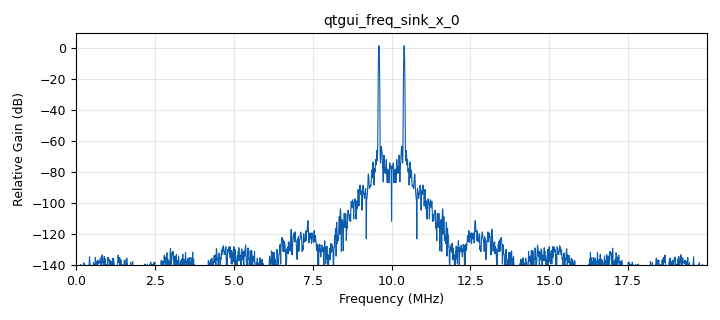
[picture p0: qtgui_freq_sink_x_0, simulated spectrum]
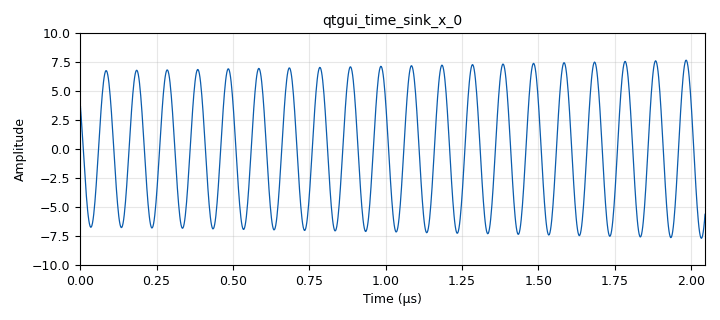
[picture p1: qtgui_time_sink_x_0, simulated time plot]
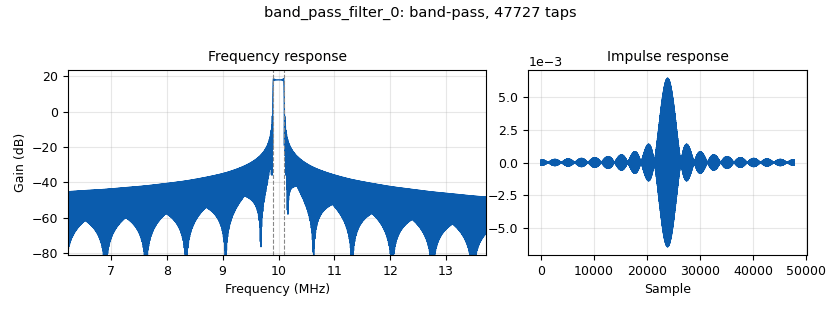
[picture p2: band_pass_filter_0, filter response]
options:
  parameters:
    generate_options: qt_gui
    id: First_design
    output_language: python
    title: Spherical_Antenna_Playground
  states: {}

blocks:
- name: freq
  id: variable
  parameters:
    value: 10e6
  states: {}
- name: samp_rate
  id: variable
  parameters:
    value: 0.5e9
  states: {}
- name: analog_noise_source_x_0
  id: analog_noise_source_x
  parameters:
    amp: '1'
    noise_type: analog.GR_UNIFORM
    seed: '0'
    type: float
  states: {}
- name: analog_sig_source_x_0
  id: analog_sig_source_x
  parameters:
    amp: '100e-3'
    freq: freq
    offset: '0'
    phase: '0'
    samp_rate: samp_rate
    type: float
    waveform: analog.GR_COS_WAVE
  states: {}
- name: band_pass_filter_0
  id: band_pass_filter
  parameters:
    decim: '1'
    gain: '8'
    high_cutoff_freq: 10.1e6
    low_cutoff_freq: 9.9e6
    samp_rate: samp_rate
    type: fir_filter_fff
    width: 1e4
    win: firdes.WIN_RECTANGULAR
  states: {}
- name: blocks_add_xx_0
  id: blocks_add_xx
  parameters:
    type: float
  states: {}
- name: blocks_moving_average_xx_0
  id: blocks_moving_average_xx
  parameters:
    length: '10'
    max_iter: '4000'
    scale: '1'
    type: float
  states: {}
- name: blocks_null_sink_0
  id: blocks_null_sink
  parameters:
    type: float
  states: {}
- name: blocks_null_source_0
  id: blocks_null_source
  parameters:
    type: float
  states: {}
- name: blocks_throttle_0_0
  id: blocks_throttle
  parameters:
    samples_per_second: samp_rate
    type: float
  states: {}
- name: note_0
  id: note
  parameters:
    note: For Testing purposes, the sampling rate will be set here, but is in general set by the measurement device
  states: {}
- name: note_1
  id: note
  parameters:
    note: Set By WWV/Radio transmitter
  states: {}
- name: note_2
  id: note
  parameters:
    note: Noisy SIgnal Gen.
  states: {}
- name: note_3
  id: note
  parameters:
    note: Filtering
  states: {}
- name: note_4
  id: note
  parameters:
    note: Output SIgnal
  states: {}
- name: qtgui_freq_sink_x_0
  id: qtgui_freq_sink_x
  parameters:
    bw: 20e6
    fc: 10e6
    fftsize: '2048'
    type: float
    wintype: firdes.WIN_BLACKMAN_hARRIS
  states: {}
- name: qtgui_time_sink_x_0
  id: qtgui_time_sink_x
  parameters:
    entags: 'False'
    size: '1024'
    srate: samp_rate
    type: float
    update_time: '0.01'
    ymax: '10'
    ymin: '-10'
  states: {}

connections:
- [analog_noise_source_x_0, '0', blocks_add_xx_0, '1']
- [analog_sig_source_x_0, '0', blocks_add_xx_0, '0']
- [band_pass_filter_0, '0', qtgui_freq_sink_x_0, '0']
- [band_pass_filter_0, '0', qtgui_time_sink_x_0, '0']
- [blocks_add_xx_0, '0', blocks_moving_average_xx_0, '0']
- [blocks_moving_average_xx_0, '0', band_pass_filter_0, '0']
- [blocks_null_source_0, '0', blocks_throttle_0_0, '0']
- [blocks_throttle_0_0, '0', blocks_null_sink_0, '0']

metadata:
  file_format: 1
